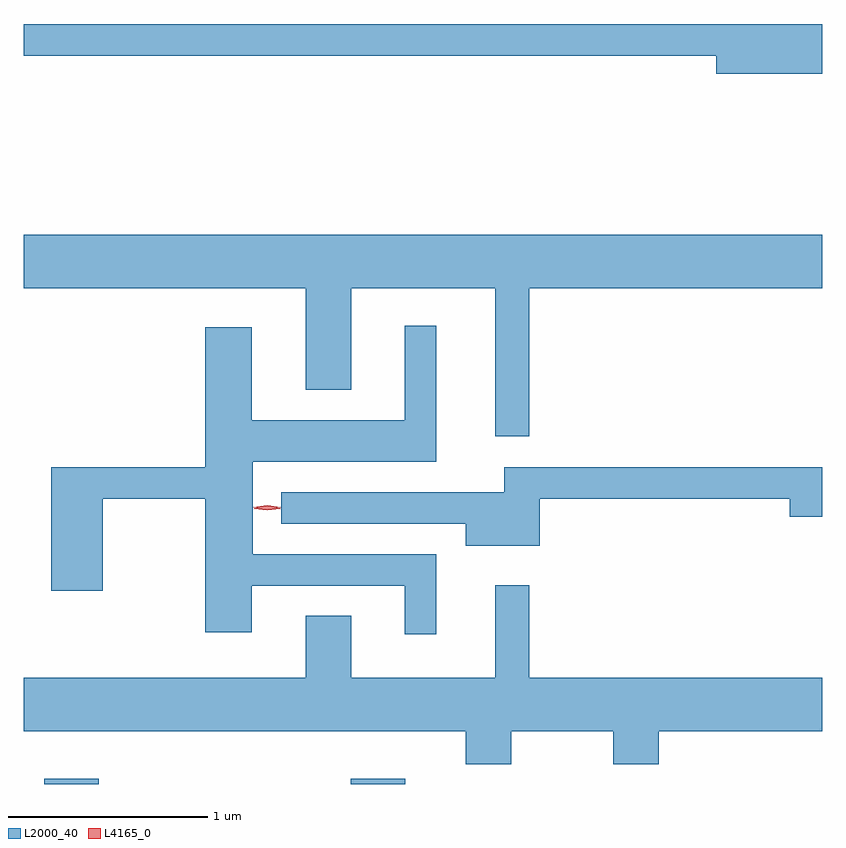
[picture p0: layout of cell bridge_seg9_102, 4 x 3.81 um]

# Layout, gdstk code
import gdstk
lib = gdstk.Library(unit=1e-6, precision=1e-09)
def R(c, l, rs):  # rectangles x0, y0, x1, y1
    for r in rs: c.add(gdstk.rectangle(r[:2], r[2:], *l))
def P(c, l, *ps):  # polygons
    for p in ps: c.add(gdstk.Polygon(p, *l))
L2000_40 = (2000, 40)
L4165_0 = (4165, 0)

bridge_seg9_102 = lib.new_cell('bridge_seg9_102')
R(bridge_seg9_102, L2000_40, [(1819.921,1973.792,1820.194,1973.819), (1821.456,1973.792,1821.729,1973.819)])
P(bridge_seg9_102, L2000_40, [(1823.818,1977.599),(1819.818,1977.599),(1819.818,1977.441),(1823.286,1977.441),(1823.286,1977.351),(1823.818,1977.351)],
  [(1822.349,1976.276),(1823.818,1976.276),(1823.818,1976.544),(1819.818,1976.544),(1819.818,1976.276),(1821.231,1976.276),(1821.231,1975.766),(1821.459,1975.766),(1821.459,1976.276),(1822.181,1976.276),(1822.181,1975.533),(1822.349,1975.533)],
  [(1821.884,1974.944),(1820.964,1974.944),(1820.964,1975.406),(1821.884,1975.406),(1821.884,1976.088),(1821.726,1976.088),(1821.726,1975.614),(1820.959,1975.614),(1820.959,1976.079),(1820.726,1976.079),(1820.726,1975.379),(1819.956,1975.379),(1819.956,1974.761),(1820.214,1974.761),(1820.214,1975.221),(1820.726,1975.221),(1820.726,1974.551),(1820.959,1974.551),(1820.959,1974.786),(1821.726,1974.786),(1821.726,1974.543),(1821.884,1974.543)],
  [(1822.404,1975.221),(1823.656,1975.221),(1823.656,1975.131),(1823.818,1975.131),(1823.818,1975.379),(1822.226,1975.379),(1822.226,1975.254),(1821.108,1975.254),(1821.108,1975.096),(1822.031,1975.096),(1822.031,1974.986),(1822.404,1974.986)],
  [(1822.259,1974.056),(1822.771,1974.056),(1822.771,1973.891),(1822.999,1973.891),(1822.999,1974.056),(1823.818,1974.056),(1823.818,1974.324),(1822.349,1974.324),(1822.349,1974.788),(1822.181,1974.788),(1822.181,1974.324),(1821.459,1974.324),(1821.459,1974.634),(1821.231,1974.634),(1821.231,1974.324),(1819.818,1974.324),(1819.818,1974.056),(1822.031,1974.056),(1822.031,1973.891),(1822.259,1973.891)])
P(bridge_seg9_102, L4165_0, [(1821.036,1975.169),(1820.967,1975.178),(1820.967,1975.179),(1820.967,1975.179),(1821.037,1975.189),(1821.106,1975.179),(1821.106,1975.178),(1821.106,1975.178)],
  [(1821.037,1975.163),(1820.972,1975.172),(1820.972,1975.173),(1820.972,1975.173),(1821.037,1975.183),(1821.102,1975.173),(1821.103,1975.173),(1821.102,1975.172)])

lib.write_gds('bridge_seg9_102.gds')
